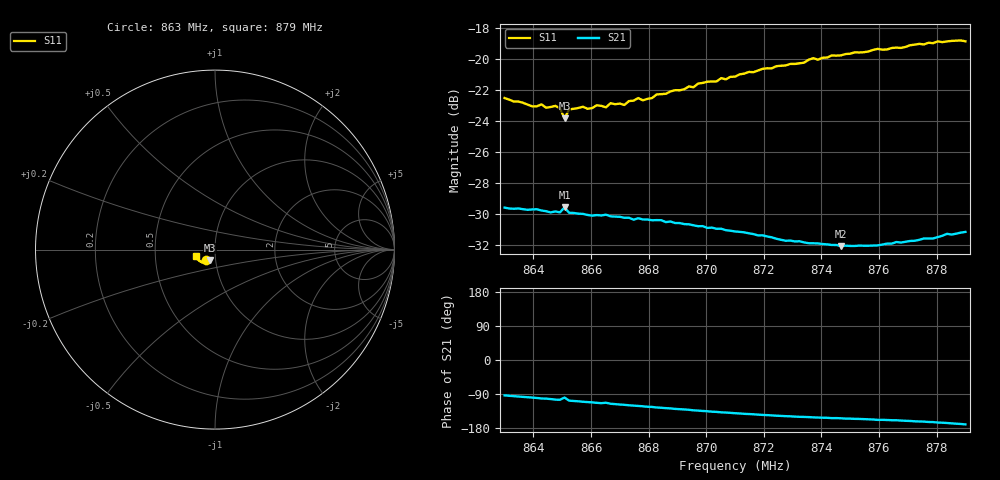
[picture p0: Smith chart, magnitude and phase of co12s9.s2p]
# HZ S RI R 50
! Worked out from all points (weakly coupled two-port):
!   101 points, 863 MHz to 879 MHz, reference 50 ohm
!   highest |S21| = -29.60 dB at 865.08 MHz (marker M1); lowest = -32.1 dB at 874.68 MHz (marker M2)
!   lowest |S11| = -23.9 dB at 865.08 MHz (marker M3), VSWR 1.14, Z = 46.9 - j5.38 ohm
!   |S11| at or under -10 dB: start of sweep to end of sweep
!   S12 and S22 are empty: the file has one direction only
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8.63e8  -0.0478 -0.0574  -0.00196 -0.033  0 0  0 0
8.6396e8  -0.0427 -0.0557  -0.00517 -0.0322  0 0  0 0
8.6476e8  -0.0412 -0.0571  -0.00811 -0.0311  0 0  0 0
8.6492e8  -0.04 -0.0566  -0.00826 -0.0308  0 0  0 0
8.6508e8  -0.0292 -0.0571  -0.00528 -0.0327  0 0  0 0
8.6524e8  -0.0382 -0.057  -0.00942 -0.0304  0 0  0 0
8.6572e8  -0.0378 -0.0589  -0.0109 -0.0296  0 0  0 0
8.6652e8  -0.0355 -0.06  -0.0121 -0.0289  0 0  0 0
8.6668e8  -0.0377 -0.0612  -0.0133 -0.028  0 0  0 0
8.6716e8  -0.0359 -0.0612  -0.0145 -0.027  0 0  0 0
8.6764e8  -0.0388 -0.0638  -0.0158 -0.0261  0 0  0 0
8.678e8  -0.0378 -0.063  -0.0161 -0.0256  0 0  0 0
8.6844e8  -0.0396 -0.0659  -0.0177 -0.0243  0 0  0 0
8.71e8  -0.0501 -0.0718  -0.0213 -0.0176  0 0  0 0
8.7196e8  -0.0575 -0.0728  -0.022 -0.0155  0 0  0 0
8.734e8  -0.066 -0.0712  -0.0221 -0.0127  0 0  0 0
8.7372e8  -0.071 -0.0711  -0.0223 -0.0121  0 0  0 0
8.7388e8  -0.0699 -0.0705  -0.0223 -0.0119  0 0  0 0
8.7468e8  -0.0772 -0.0674  -0.0223 -0.0109  0 0  0 0
8.7644e8  -0.0907 -0.0593  -0.0236 -0.0091  0 0  0 0
8.7804e8  -0.1035 -0.0475  -0.0256 -0.00685  0 0  0 0
8.79e8  -0.1076 -0.0371  -0.0272 -0.00484  0 0  0 0
